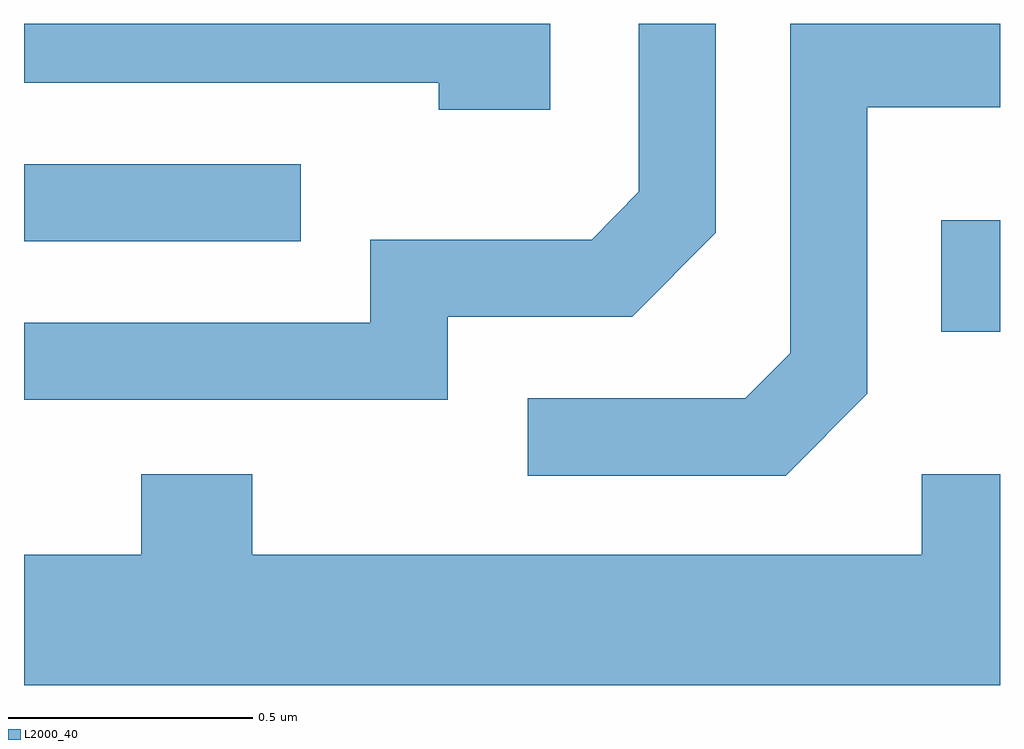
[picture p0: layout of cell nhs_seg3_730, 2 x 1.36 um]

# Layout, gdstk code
import gdstk
lib = gdstk.Library(unit=1e-6, precision=1e-09)
def R(c, l, rs):  # rectangles x0, y0, x1, y1
    for r in rs: c.add(gdstk.rectangle(r[:2], r[2:], *l))
def P(c, l, *ps):  # polygons
    for p in ps: c.add(gdstk.Polygon(p, *l))
L2000_40 = (2000, 40)

nhs_seg3_730 = lib.new_cell('nhs_seg3_730')
R(nhs_seg3_730, L2000_40, [(192.491,1162.261,192.611,1162.489), (190.611,1162.446,191.178,1162.604)])
P(nhs_seg3_730, L2000_40, [(191.479,1162.291),(191.857,1162.291),(192.029,1162.464),(192.029,1162.892),(191.871,1162.892),(191.871,1162.547),(191.774,1162.449),(191.321,1162.449),(191.321,1162.279),(190.611,1162.279),(190.611,1162.121),(191.479,1162.121)],
  [(191.689,1162.892),(190.611,1162.892),(190.611,1162.771),(191.461,1162.771),(191.461,1162.716),(191.689,1162.716)],
  [(192.339,1162.134),(192.339,1162.721),(192.611,1162.721),(192.611,1162.892),(192.181,1162.892),(192.181,1162.217),(192.089,1162.124),(191.643,1162.124),(191.643,1161.966),(192.172,1161.966)],
  [(192.611,1161.969),(192.451,1161.969),(192.451,1161.804),(191.079,1161.804),(191.079,1161.969),(190.851,1161.969),(190.851,1161.804),(190.611,1161.804),(190.611,1161.536),(192.611,1161.536)])

lib.write_gds('nhs_seg3_730.gds')
